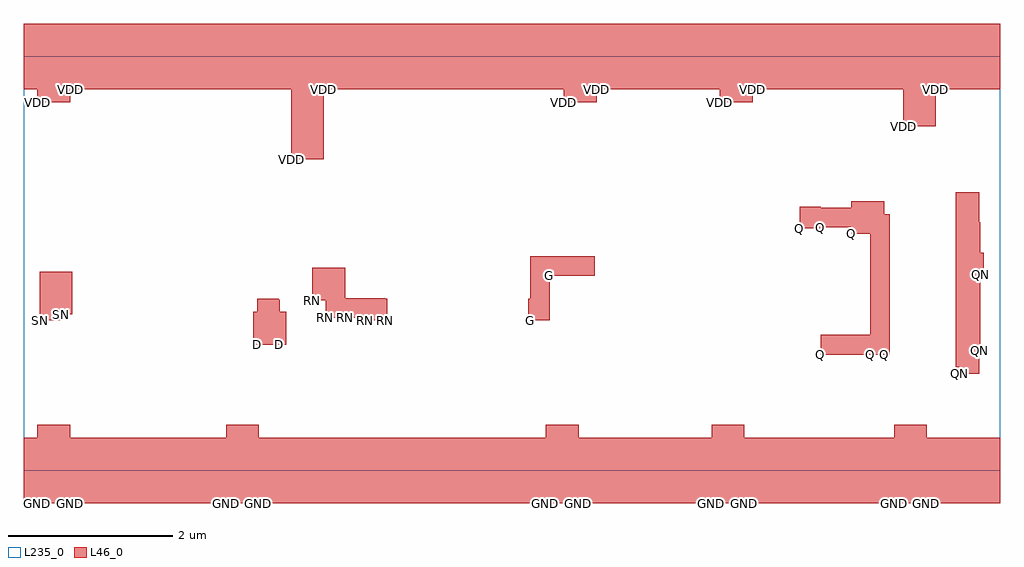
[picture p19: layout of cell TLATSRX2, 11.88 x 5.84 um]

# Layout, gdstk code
import gdstk
lib = gdstk.Library(unit=1e-6, precision=1e-09)
def R(c, l, rs):  # rectangles x0, y0, x1, y1
    for r in rs: c.add(gdstk.rectangle(r[:2], r[2:], *l))
L46_0 = (46, 0)
L235_0 = (235, 0)

tlatsrx2 = lib.new_cell('TLATSRX2')
R(tlatsrx2, L46_0, [(0,-0.4,0.16,0.4), (0.16,-0.4,0.56,0.56), (0.56,-0.4,2.46,0.4), (2.46,-0.4,2.86,0.56), (2.86,-0.4,6.35,0.4), (6.35,-0.4,6.75,0.56), (6.75,-0.4,8.37,0.4), (8.37,-0.4,8.77,0.56), (8.77,-0.4,10.59,0.4), (10.59,-0.4,10.99,0.56), (10.99,-0.4,11.88,0.4), (11.39,1.18,11.63,3.39), (11.34,1.26,11.39,3.39), (9.7,1.41,10.3,1.65), (10.3,1.41,10.47,3.28), (10.47,1.41,10.54,3.12), (11.63,1.46,11.64,3.02), (2.79,1.53,2.84,1.93), (2.84,1.53,3.1,2.09), (3.1,1.53,3.11,2.08), (3.11,1.53,3.19,1.93), (0.2,1.83,0.46,2.42), (4.16,1.83,4.4,2.1), (4.4,1.83,4.42,2.09), (6.14,1.83,6.16,2.09), (6.16,1.83,6.4,2.61), (3.67,1.86,3.91,2.47), (3.91,1.86,4.16,2.1), (0.19,1.9,0.2,2.42), (0.46,1.9,0.59,2.42), (3.51,2.07,3.67,2.47), (6.4,2.37,6.95,2.61), (11.64,2.39,11.68,2.65), (10.07,2.88,10.3,3.28), (9.44,2.95,9.7,3.21), (9.7,2.96,10.07,3.2), (3.25,3.79,3.65,5.44), (10.7,4.19,11.1,5.44), (0.16,4.48,0.56,5.44), (6.57,4.48,6.97,5.44), (8.47,4.48,8.87,5.44), (0,4.64,0.16,5.44), (0.56,4.64,3.25,5.44), (3.65,4.64,6.57,5.44), (6.97,4.64,8.47,5.44), (8.87,4.64,10.7,5.44), (11.1,4.64,11.88,5.44)])
R(tlatsrx2, L235_0, [(0,0,11.88,5.04)])
tlatsrx2.add(gdstk.Label('SN', (0.46,1.9), layer=101, texttype=0))
tlatsrx2.add(gdstk.Label('SN', (0.2,1.83), layer=101, texttype=0))
tlatsrx2.add(gdstk.Label('SN', (0.19,1.9), layer=101, texttype=0))
tlatsrx2.add(gdstk.Label('RN', (4.4,1.83), layer=101, texttype=0))
tlatsrx2.add(gdstk.Label('RN', (4.16,1.83), layer=101, texttype=0))
tlatsrx2.add(gdstk.Label('RN', (3.91,1.86), layer=101, texttype=0))
tlatsrx2.add(gdstk.Label('RN', (3.67,1.86), layer=101, texttype=0))
tlatsrx2.add(gdstk.Label('RN', (3.51,2.07), layer=101, texttype=0))
tlatsrx2.add(gdstk.Label('QN', (11.64,2.39), layer=101, texttype=0))
tlatsrx2.add(gdstk.Label('QN', (11.63,1.46), layer=101, texttype=0))
tlatsrx2.add(gdstk.Label('QN', (11.39,1.18), layer=101, texttype=0))
tlatsrx2.add(gdstk.Label('QN', (11.34,1.26), layer=101, texttype=0))
tlatsrx2.add(gdstk.Label('Q', (10.47,1.41), layer=101, texttype=0))
tlatsrx2.add(gdstk.Label('Q', (10.3,1.41), layer=101, texttype=0))
tlatsrx2.add(gdstk.Label('Q', (9.7,1.41), layer=101, texttype=0))
tlatsrx2.add(gdstk.Label('Q', (10.07,2.88), layer=101, texttype=0))
tlatsrx2.add(gdstk.Label('Q', (9.7,2.96), layer=101, texttype=0))
tlatsrx2.add(gdstk.Label('Q', (9.44,2.95), layer=101, texttype=0))
tlatsrx2.add(gdstk.Label('G', (6.4,2.37), layer=101, texttype=0))
tlatsrx2.add(gdstk.Label('G', (6.16,1.83), layer=101, texttype=0))
tlatsrx2.add(gdstk.Label('G', (6.14,1.83), layer=101, texttype=0))
tlatsrx2.add(gdstk.Label('D', (3.11,1.53), layer=101, texttype=0))
tlatsrx2.add(gdstk.Label('D', (3.1,1.53), layer=101, texttype=0))
tlatsrx2.add(gdstk.Label('D', (2.84,1.53), layer=101, texttype=0))
tlatsrx2.add(gdstk.Label('D', (2.79,1.53), layer=101, texttype=0))
tlatsrx2.add(gdstk.Label('VDD', (11.1,4.64), layer=101, texttype=0))
tlatsrx2.add(gdstk.Label('VDD', (10.7,4.19), layer=101, texttype=0))
tlatsrx2.add(gdstk.Label('VDD', (8.87,4.64), layer=101, texttype=0))
tlatsrx2.add(gdstk.Label('VDD', (8.47,4.48), layer=101, texttype=0))
tlatsrx2.add(gdstk.Label('VDD', (6.97,4.64), layer=101, texttype=0))
tlatsrx2.add(gdstk.Label('VDD', (6.57,4.48), layer=101, texttype=0))
tlatsrx2.add(gdstk.Label('VDD', (3.65,4.64), layer=101, texttype=0))
tlatsrx2.add(gdstk.Label('VDD', (3.25,3.79), layer=101, texttype=0))
tlatsrx2.add(gdstk.Label('VDD', (0.56,4.64), layer=101, texttype=0))
tlatsrx2.add(gdstk.Label('VDD', (0.16,4.48), layer=101, texttype=0))
tlatsrx2.add(gdstk.Label('VDD', (0,4.64), layer=101, texttype=0))
tlatsrx2.add(gdstk.Label('GND', (10.99,-0.4), layer=101, texttype=0))
tlatsrx2.add(gdstk.Label('GND', (10.59,-0.4), layer=101, texttype=0))
tlatsrx2.add(gdstk.Label('GND', (8.77,-0.4), layer=101, texttype=0))
tlatsrx2.add(gdstk.Label('GND', (8.37,-0.4), layer=101, texttype=0))
tlatsrx2.add(gdstk.Label('GND', (6.75,-0.4), layer=101, texttype=0))
tlatsrx2.add(gdstk.Label('GND', (6.35,-0.4), layer=101, texttype=0))
tlatsrx2.add(gdstk.Label('GND', (2.86,-0.4), layer=101, texttype=0))
tlatsrx2.add(gdstk.Label('GND', (2.46,-0.4), layer=101, texttype=0))
tlatsrx2.add(gdstk.Label('GND', (0.56,-0.4), layer=101, texttype=0))
tlatsrx2.add(gdstk.Label('GND', (0.16,-0.4), layer=101, texttype=0))
tlatsrx2.add(gdstk.Label('GND', (0,-0.4), layer=101, texttype=0))

lib.write_gds('TLATSRX2.gds')
